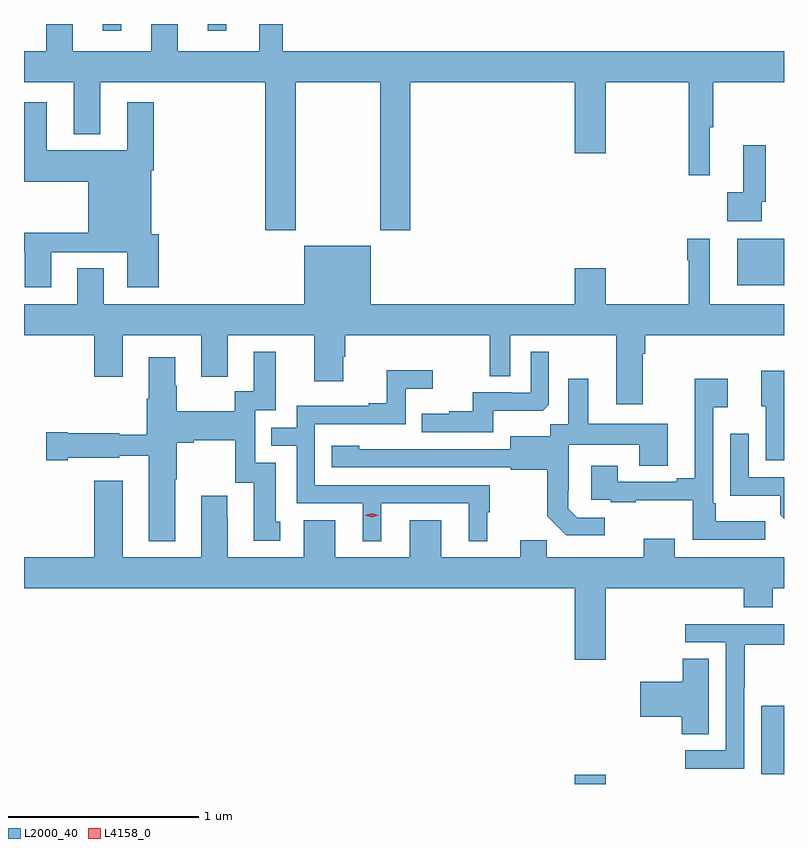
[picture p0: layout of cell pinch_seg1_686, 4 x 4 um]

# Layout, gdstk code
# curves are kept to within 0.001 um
import gdstk
lib = gdstk.Library(unit=1e-6, precision=1e-09)
def R(c, l, rs):  # rectangles x0, y0, x1, y1
    for r in rs: c.add(gdstk.rectangle(r[:2], r[2:], *l))
def P(c, l, *ps):  # polygons
    for p in ps: c.add(gdstk.Polygon(p, *l))
L2000_40 = (2000, 40)
L4158_0 = (4158, 0)

pinch_seg1_686 = lib.new_cell('pinch_seg1_686')
R(pinch_seg1_686, L2000_40, [(752.42,548.039,752.584,548.089), (753.401,548.09,753.522,548.451), (753.275,550.664,753.522,550.909), (749.936,552.003,750.034,552.039), (750.488,552.003,750.586,552.039)])
P(pinch_seg1_686, L2000_40, [(750.951,551.732),(751.396,551.732),(751.396,550.953),(751.556,550.953),(751.556,551.732),(752.42,551.732),(752.42,551.358),(752.584,551.358),(752.584,551.732),(753.021,551.732),(753.021,551.244),(753.131,551.244),(753.131,551.496),(753.149,551.496),(753.149,551.732),(753.522,551.732),(753.522,551.896),(750.883,551.896),(750.883,552.039),(750.761,552.039),(750.761,551.896),(750.331,551.896),(750.331,552.039),(750.191,552.039),(750.191,551.896),(749.779,551.896),(749.779,552.039),(749.639,552.039),(749.639,551.896),(749.522,551.896),(749.522,551.732),(749.783,551.732),(749.783,551.459),(749.923,551.459),(749.923,551.732),(750.791,551.732),(750.791,550.953),(750.951,550.953)],
  [(749.665,550.839),(750.065,550.839),(750.065,550.653),(750.23,550.653),(750.23,550.932),(750.193,550.932),(750.193,551.27),(750.206,551.27),(750.206,551.626),(750.065,551.626),(750.065,551.374),(749.641,551.374),(749.641,551.626),(749.522,551.626),(749.522,551.21),(749.861,551.21),(749.861,550.94),(749.522,550.94),(749.522,550.839),(749.525,550.839),(749.525,550.653),(749.665,550.653)],
  [(753.405,551.104),(753.425,551.104),(753.425,551.401),(753.308,551.401),(753.308,551.153),(753.222,551.153),(753.222,551),(753.405,551)],
  [(752.779,550.304),(752.792,550.304),(752.792,550.4),(753.522,550.4),(753.522,550.564),(753.13,550.564),(753.13,550.909),(753.013,550.909),(753.013,550.796),(753.021,550.796),(753.021,550.564),(752.584,550.564),(752.584,550.753),(752.42,550.753),(752.42,550.564),(751.348,550.564),(751.348,550.873),(750.998,550.873),(750.998,550.564),(749.941,550.564),(749.941,550.754),(749.801,550.754),(749.801,550.564),(749.522,550.564),(749.522,550.4),(749.891,550.4),(749.891,550.182),(750.043,550.182),(750.043,550.4),(750.455,550.4),(750.455,550.182),(750.595,550.182),(750.595,550.4),(751.049,550.4),(751.049,550.158),(751.201,550.158),(751.201,550.287),(751.214,550.287),(751.214,550.4),(751.974,550.4),(751.974,550.186),(752.082,550.186),(752.082,550.4),(752.639,550.4),(752.639,550.038),(752.779,550.038)],
  [(750.319,549.643),(750.327,549.643),(750.327,549.836),(750.415,549.836),(750.415,549.848),(750.635,549.848),(750.635,549.624),(750.731,549.624),(750.731,549.318),(750.871,549.318),(750.871,549.42),(750.847,549.42),(750.847,549.729),(750.738,549.729),(750.738,550.005),(750.847,550.005),(750.847,550.315),(750.731,550.315),(750.731,550.106),(750.63,550.106),(750.63,550),(750.327,550),(750.327,550.134),(750.319,550.134),(750.319,550.285),(750.179,550.285),(750.179,550.067),(750.167,550.067),(750.167,549.877),(750.024,549.877),(750.024,549.885),(749.752,549.885),(749.752,549.89),(749.64,549.89),(749.64,549.743),(749.752,549.743),(749.752,549.755),(750.024,549.755),(750.024,549.767),(750.179,549.767),(750.179,549.317),(750.319,549.317)],
  [(751.993,550.004),(752.251,550.004),(752.283,550.035),(752.283,550.315),(752.19,550.315),(752.19,550.098),(752.09,550.098),(752.09,550.101),(751.883,550.101),(751.883,550),(751.759,550),(751.759,549.988),(751.615,549.988),(751.615,549.891),(751.993,549.891)],
  [(751.402,549.516),(751.862,549.516),(751.862,549.317),(751.96,549.317),(751.96,549.468),(751.972,549.468),(751.972,549.612),(751.053,549.612),(751.053,549.933),(751.53,549.933),(751.53,550.118),(751.672,550.118),(751.672,550.217),(751.432,550.217),(751.432,550.042),(751.337,550.042),(751.337,550.029),(750.957,550.029),(750.957,549.915),(750.823,549.915),(750.823,549.819),(750.957,549.819),(750.957,549.516),(751.304,549.516),(751.304,549.317),(751.402,549.317)],
  [(753.522,550.214),(753.401,550.214),(753.401,550.026),(753.426,550.026),(753.426,549.744),(753.522,549.744)],
  [(753.424,549.421),(753.163,549.421),(753.163,549.517),(753.15,549.517),(753.15,550.022),(753.226,550.022),(753.226,550.171),(753.053,550.171),(753.053,549.649),(752.957,549.649),(752.957,549.63),(752.647,549.63),(752.647,549.715),(752.507,549.715),(752.507,549.534),(752.611,549.534),(752.611,549.522),(752.743,549.522),(752.743,549.533),(753.042,549.533),(753.042,549.324),(753.424,549.324)],
  [(752.578,549.441),(752.433,549.441),(752.386,549.488),(752.386,549.583),(752.388,549.583),(752.388,549.824),(752.759,549.824),(752.759,549.715),(752.911,549.715),(752.911,549.934),(752.491,549.934),(752.491,550.171),(752.387,550.171),(752.387,549.932),(752.292,549.932),(752.292,549.868),(752.081,549.868),(752.081,549.801),(751.287,549.802),(751.287,549.82),(751.143,549.82),(751.143,549.705),(752.085,549.705),(752.085,549.693),(752.277,549.693),(752.277,549.447),(752.377,549.347),(752.578,549.347)],
  [(753.522,549.654),(753.336,549.654),(753.336,549.883),(753.24,549.883),(753.24,549.557),(753.502,549.557),(753.502,549.455),(753.522,549.435)],
  [(752.584,549.068),(753.311,549.068),(753.311,548.969),(753.463,548.969),(753.463,549.068),(753.522,549.068),(753.522,549.232),(752.947,549.232),(752.947,549.331),(752.783,549.331),(752.783,549.232),(752.273,549.232),(752.273,549.323),(752.135,549.323),(752.135,549.232),(751.717,549.232),(751.717,549.427),(751.553,549.427),(751.553,549.232),(751.159,549.232),(751.159,549.427),(750.995,549.427),(750.995,549.232),(750.595,549.232),(750.595,549.443),(750.592,549.443),(750.592,549.556),(750.455,549.556),(750.455,549.232),(750.043,549.232),(750.043,549.634),(749.891,549.634),(749.891,549.232),(749.522,549.232),(749.522,549.068),(752.42,549.068),(752.42,548.694),(752.584,548.694)],
  [(753.312,548.548),(753.315,548.548),(753.315,548.772),(753.522,548.772),(753.522,548.88),(753.003,548.88),(753.003,548.784),(753.216,548.784),(753.216,548.217),(753.003,548.217),(753.003,548.119),(753.312,548.119)],
  [(753.127,548.699),(752.989,548.699),(752.989,548.576),(752.766,548.576),(752.766,548.393),(752.984,548.393),(752.984,548.302),(753.127,548.302)])
P(pinch_seg1_686, L4158_0, [(751.353,549.443),(751.317,549.453),(751.317,549.453),(751.317,549.453),(751.353,549.463),(751.388,549.453),(751.389,549.453),(751.388,549.453)])

lib.write_gds('pinch_seg1_686.gds')
